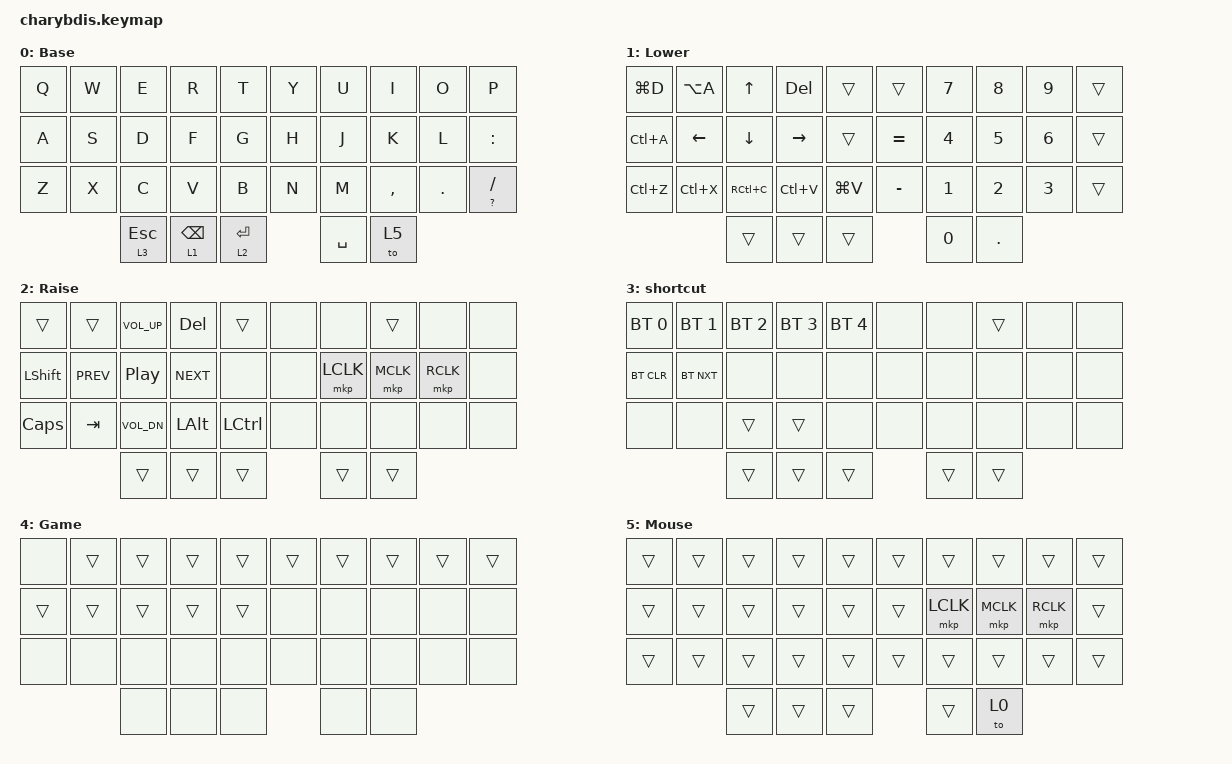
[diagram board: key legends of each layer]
#include <behaviors.dtsi>
#include <dt-bindings/zmk/mouse.h>
#include <dt-bindings/zmk/bt.h>
#include <dt-bindings/zmk/keys.h>
#include <dt-bindings/zmk/outputs.h>

#define DEFAULT 0
#define NUMBER  1
#define FN  2
#define HOTKEY  3



&lt {
    tapping-term-ms = <240>;
    flavor = "balanced";
    quick-tap-ms = <150>;
};

&mt {
    global-quick-tap;
    flavor = "tap-preferred";
    tapping-term-ms = <200>;
};

&sk {
    release-after-ms = <2000>;
    quick-release;
};

/ {
    macros {
        dongle_bootload_macro: bootload_macro {
            compatible = "zmk,behavior-macro";
            #binding-cells = <0>;
            bindings = <&bootloader>;
            label = "BOOTLOAD_MACRO";
        };
    };

    combos {
        compatible = "zmk,combos";

        combo_esc {
            timeout-ms = <50>;
            key-positions = <0 1>;
            bindings = <&kp ESC>;
        };

        left_bkt {
            bindings = <&kp LEFT_BRACKET>;
            key-positions = <2 3>;
            timeout-ms = <50>;
        };

        right_bkt {
            bindings = <&kp RIGHT_BRACKET>;
            key-positions = <8 9>;
            timeout-ms = <50>;
        };

        left_par {
            bindings = <&kp LEFT_PARENTHESIS>;
            key-positions = <15 16>;
            timeout-ms = <50>;
        };

        right_par {
            bindings = <&kp RIGHT_PARENTHESIS>;
            key-positions = <19 20>;
            timeout-ms = <50>;
        };

        left_brace {
            bindings = <&kp LEFT_BRACE>;
            key-positions = <27 28>;
            timeout-ms = <50>;
        };

        right_brace {
            bindings = <&kp RIGHT_BRACE>;
            key-positions = <31 32>;
            timeout-ms = <50>;
        };

        bac {
            bindings = <&kp BACKSLASH>;
            key-positions = <5 6>;
            timeout-ms = <50>;
        };

        pipe {
            bindings = <&kp PIPE>;
            key-positions = <17 18>;
            timeout-ms = <50>;
        };
    };

    behaviors {
        hm: homerow_mods {
            compatible = "zmk,behavior-hold-tap";
            label = "HOMEROW_MODS";
            bindings = <&kp>, <&kp>;

            #binding-cells = <2>;
            tapping-term-ms = <200>;
            quick-tap-ms = <180>;
            flavor = "tap-preferred";
        };

        ltq: ltq {
            compatible = "zmk,behavior-hold-tap";
            label = "LTQ";
            bindings = <&mo>, <&kp>;

            #binding-cells = <2>;
            tapping-term-ms = <200>;
            quick-tap-ms = <180>;
        };

        as: auto_shift {
            compatible = "zmk,behavior-hold-tap";
            label = "AUTO_SHIFT";
            bindings = <&kp>, <&kp>;

            #binding-cells = <2>;
            tapping-term-ms = <135>;
            quick-tap-ms = <0>;
        };
    };

    keymap {
        compatible = "zmk,keymap";

        Base {
            label = "Base";
            bindings = <
&kp Q  &kp W  &kp E         &kp R        &kp T       &kp Y  &kp U      &kp I      &kp O    &kp P
&kp A  &kp S  &kp D         &kp F        &kp G       &kp H  &kp J      &kp K      &kp L    &kp COLON
&kp Z  &kp X  &kp C         &kp V        &kp B       &kp N  &kp M      &kp COMMA  &kp DOT  &as QUESTION SLASH
                  &ltq 3 ESC &ltq 1 BSPC &ltq 2 ENTER       &kp SPACE &to 5
            >;
        };

        Lower {
            label = "Lower";
            bindings = <
&kp LG(D)   &kp LA(A)  &kp UP    &kp DELETE    &trans     &trans     &kp N7  &kp N8   &kp N9  &trans
&kp LC(A)  &kp LEFT   &kp DOWN   &kp RIGHT  &trans     &kp EQUAL  &kp N4  &kp N5   &kp N6  &trans
&kp LC(Z)  &kp LC(X)  &kp RC(C)  &kp LC(V)  &kp LG(V)  &kp MINUS  &kp N1  &kp N2   &kp N3  &trans
                      &trans     &trans     &trans                &kp N0  &kp PERIOD
            >;
        };

        Raise {
            label = "Raise";
            bindings = <
&trans  &trans      &kp C_VOL_UP  &kp DELETE  &trans      &none  &none   &trans  &none  &none
&kp LSHFT   &kp C_PREV  &kp C_PP      &kp C_NEXT  &none       &none  &mkp LCLK  &mkp MCLK    &mkp RCLK  &none
&kp CAPS  &kp TAB   &kp C_VOL_DN  &kp LEFT_ALT  &kp LCTRL  &none   &none  &none   &none   &none  
                    &trans        &trans      &trans         &trans  &trans
            >;
        };

        Shortcut {
            label = "shortcut";
            bindings = <
&bt BT_SEL 0  &bt BT_SEL 1  &bt BT_SEL 2  &bt BT_SEL 3  &bt BT_SEL 4  &none  &none   &trans  &none  &none
&bt BT_CLR    &bt BT_NXT    &none         &none         &none         &none  &none   &none   &none  &none
&none         &none         &trans        &trans        &none         &none  &none   &none   &none  &none
                            &trans        &trans        &trans               &trans  &trans
            >;
        };

        Game {
            label = "Game";
            bindings = <
&none   &trans  &trans  &trans  &trans  &trans  &trans  &trans  &trans  &trans
&trans  &trans  &trans  &trans  &trans  &none   &none   &none   &none   &none
&none   &none   &none   &none   &none   &none   &none   &none   &none   &none
                &none   &none   &none           &none   &none
            >;
        };

        Mouse {
            bindings = <
&trans  &trans  &trans  &trans  &trans    &trans  &trans          &trans      &trans           &trans  
&trans  &trans  &trans  &trans  &trans    &trans  &mkp LCLK  &mkp MCLK    &mkp RCLK  &trans  
&trans  &trans  &trans  &trans  &trans    &trans  &trans        &trans         &trans         &trans  
                        &trans  &trans  &trans                        &trans    &to 0
            >;
        };
    };

    conditional_layers {
        compatible = "zmk,conditional-layers";

        game {
            if-layers = <2 3>;
            then-layer = <4>;
        };
    };
};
